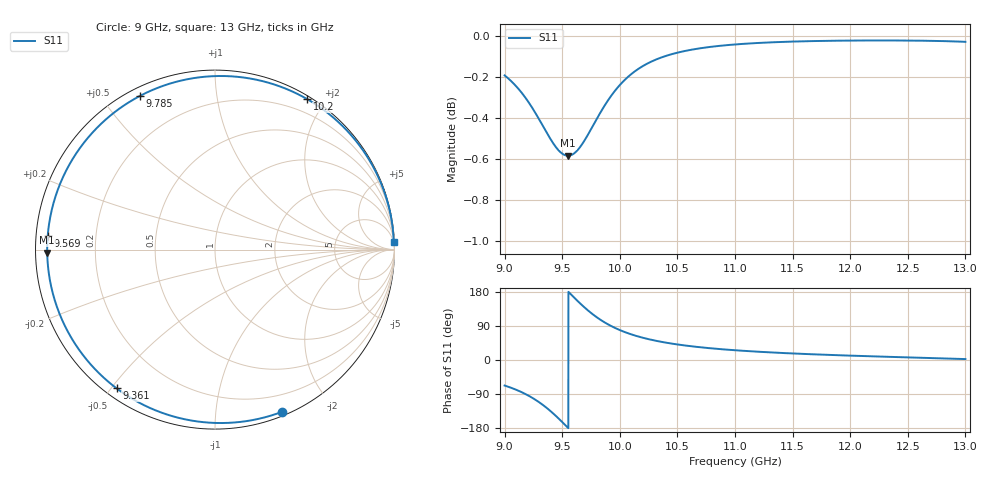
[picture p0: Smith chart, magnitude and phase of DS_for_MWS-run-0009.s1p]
! TOUCHSTONE file generated by CST DESIGN STUDIO
! Date and time: Tue Feb  4 15:59:48 2025
! Project name: C:\Work\MatlabApps\UnitCellOptimizationMatlab\CST\unitcell.cst
! Tree item: Tasks\Sweep1\SPara1\S-Parameters
! Header version: 2024
! Port assignment regex: !\s*Touchstone port\s*([0-9]+)\s*=\s*(CST MWS port|CST DES external port|CST DES block port)\s*(.+)\s* \(\"(.*)\"\)(\s*mode\s*([0-9]+))?.*
! Touchstone port assignment:
! Touchstone port 1 = CST DES external port 1 ("")
# GHz S MA R 50
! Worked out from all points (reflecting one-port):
!   4001 points, 9 GHz to 13 GHz, reference 50 ohm
!   lowest |S11| = -0.6 dB at 9.55 GHz (marker M1), VSWR 29.77, Z = 1.68 - j0.47 ohm
!   phase of S11 starts at -67 deg and turns -290 deg over the sweep
!   S11 on the Smith chart (normalised r, x): 9 GHz: 0.04, -1.50; 9.361 GHz: 0.03, -0.52; 9.569 GHz: 0.03, +0.04; 9.785 GHz: 0.03, +0.62; 10.2 GHz: 0.04, +1.78; 13 GHz: 4, +46
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9  0.978 -67.4
9.105  0.9717 -79.1
9.216  0.9627 -95.5
9.293  0.955 -110.0
9.361  0.9476 -125.4
9.428  0.941 -142.8
9.466  0.938 -153.6
9.5  0.9361 -163.7
9.55  0.935 -178.9
9.569  0.9352 175.2
9.623  0.9373 158.9
9.683  0.942 141.6
9.734  0.9472 128.2
9.785  0.9528 116.1
9.831  0.9578 106.3
9.88  0.9628 97.1
9.935  0.9677 88.1
10  0.9727 79.0
10.096  0.9785 68.0
10.202  0.9832 58.5
10.339  0.9873 49.2
10.5  0.9905 41.0
10.721  0.9932 32.9
11  0.9951 25.7
11.5  0.9967 17.3
12  0.9972 11.5
12.5  0.9973 6.9
13  0.9965 2.4
